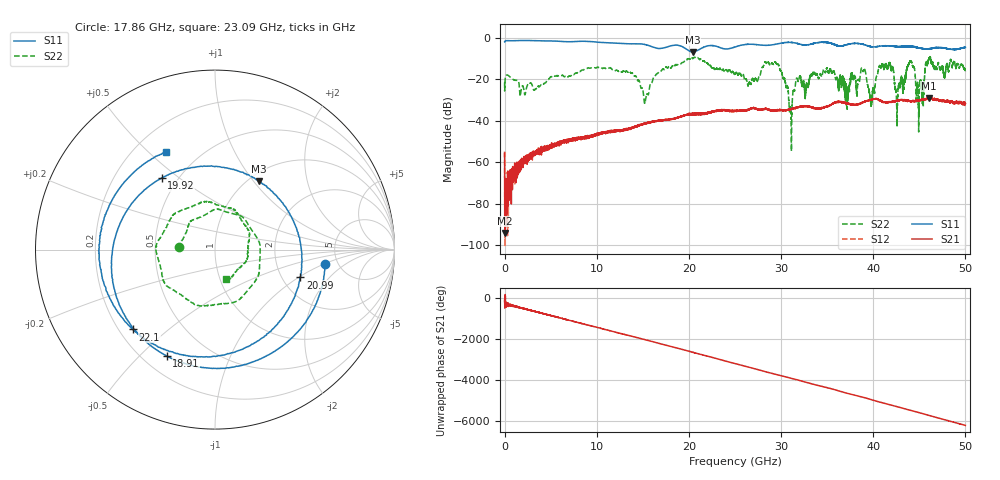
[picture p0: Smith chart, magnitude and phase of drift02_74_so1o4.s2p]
!Created with skrf (http://scikit-rf.org).
# Hz S RI R 50.0
!freq ReS11 ImS11 ReS21 ImS21 ReS12 ImS12 ReS22 ImS22
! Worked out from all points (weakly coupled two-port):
!   10001 points, 300 kHz to 50 GHz, reference 50 ohm
!   highest |S21| = -29.10 dB at 46.05 GHz (marker M1); lowest = -94.2 dB at 70.3 MHz (marker M2)
!   lowest |S11| = -6.9 dB at 20.42 GHz (marker M3), VSWR 2.64, Z = 55.5 + j52.9 ohm
!   |S11| at or under -10 dB: nowhere
!   |S22| runs from -54.8 to -9.1 dB; largest |S21 - S12| = 0.0039
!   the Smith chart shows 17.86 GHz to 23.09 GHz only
!   S11 on the Smith chart (normalised r, x): 17.86 GHz: 3.97, -1.01; 18.91 GHz: 0.29, -0.60; 19.92 GHz: 0.41, +0.43; 20.99 GHz: 2.51, -1.04; 22.1 GHz: 0.26, -0.38; 23.09 GHz: 0.33, +0.57
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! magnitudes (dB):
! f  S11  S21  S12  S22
! 300 kHz  -2.1  -55.8  -54.9  -21.6
! 70.3 MHz  -1.5  -94.2  -91.8  -19.6
! 8.335 GHz  -1.7  -48.3  -48.2  -15.7
! 15.33 GHz  -3.4  -41.2  -41.2  -29.2
! 16.67 GHz  -5.2  -40.2  -40.2  -17.0
! 17.86 GHz  -4.2  -39.4  -39.6  -13.8
! 18.91 GHz  -3.7  -38.3  -38.4  -12.5
! 19.92 GHz  -6.1  -37.2  -37.0  -10.1
! 20.42 GHz  -6.9  -36.6  -36.9  -10.0
! 20.99 GHz  -6.0  -36.8  -36.6  -9.7
! 22.1 GHz  -3.9  -36.4  -36.5  -12.8
! 23.09 GHz  -4.3  -35.5  -35.2  -15.0
! 25 GHz  -4.5  -35.4  -35.3  -17.5
! 29.51 GHz  -3.1  -34.8  -35.2  -12.6
! 31.04 GHz  -2.3  -34.5  -34.7  -34.3
! 33.34 GHz  -2.9  -33.4  -33.5  -18.0
! 39.75 GHz  -4.3  -29.9  -29.9  -31.0
! 41.67 GHz  -4.0  -30.9  -31.0  -13.1
! 44.18 GHz  -4.3  -30.9  -30.8  -12.1
! 44.85 GHz  -4.8  -30.3  -30.1  -23.4
! 46.05 GHz  -5.3  -29.1  -29.6  -10.4
! 50 GHz  -4.7  -31.8  -32.0  -16.4
